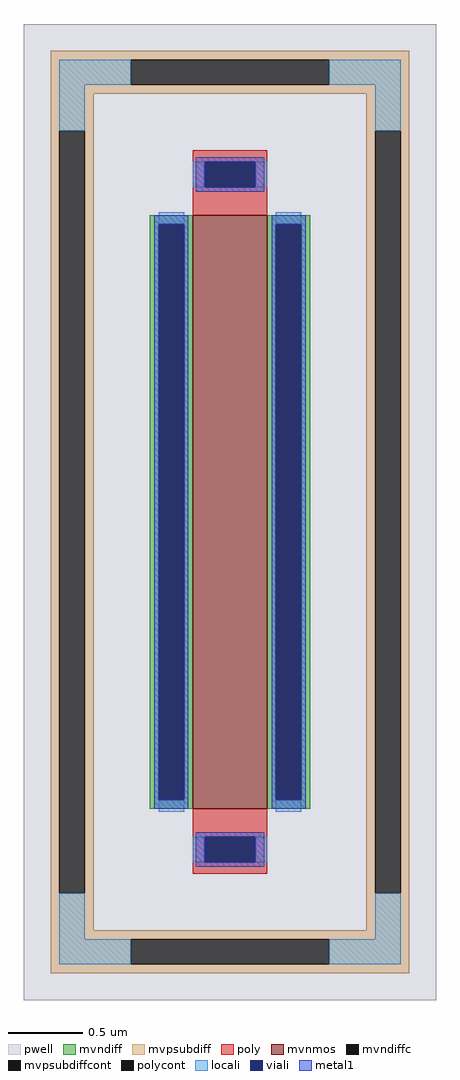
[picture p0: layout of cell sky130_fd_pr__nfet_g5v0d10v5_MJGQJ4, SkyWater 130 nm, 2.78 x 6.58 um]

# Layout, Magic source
magic
tech sky130A
<< pwell >>
rect -139 -329 139 329
<< mvnmos >>
rect -25 -200 25 200
<< mvndiff >>
rect -54 194 -25 200
rect -54 -194 -48 194
rect -31 -194 -25 194
rect -54 -200 -25 -194
rect 25 194 54 200
rect 25 -194 31 194
rect 48 -194 54 194
rect 25 -200 54 -194
<< mvndiffc >>
rect -48 -194 -31 194
rect 31 -194 48 194
<< mvpsubdiff >>
rect -121 305 121 311
rect -121 288 -67 305
rect 67 288 121 305
rect -121 282 121 288
rect -121 257 -92 282
rect -121 -257 -115 257
rect -98 -257 -92 257
rect 92 257 121 282
rect -121 -282 -92 -257
rect 92 -257 98 257
rect 115 -257 121 257
rect 92 -282 121 -257
rect -121 -288 121 -282
rect -121 -305 -67 -288
rect 67 -305 121 -288
rect -121 -311 121 -305
<< mvpsubdiffcont >>
rect -67 288 67 305
rect -115 -257 -98 257
rect 98 -257 115 257
rect -67 -305 67 -288
<< poly >>
rect -25 236 25 244
rect -25 219 -17 236
rect 17 219 25 236
rect -25 200 25 219
rect -25 -219 25 -200
rect -25 -236 -17 -219
rect 17 -236 25 -219
rect -25 -244 25 -236
<< polycont >>
rect -17 219 17 236
rect -17 -236 17 -219
<< locali >>
rect -115 288 -67 305
rect 67 288 115 305
rect -115 257 -98 288
rect 98 257 115 288
rect -25 219 -17 236
rect 17 219 25 236
rect -48 194 -31 202
rect -48 -202 -31 -194
rect 31 194 48 202
rect 31 -202 48 -194
rect -25 -236 -17 -219
rect 17 -236 25 -219
rect -115 -288 -98 -257
rect 98 -288 115 -257
rect -115 -305 -67 -288
rect 67 -305 115 -288
<< viali >>
rect -17 219 17 236
rect -48 -194 -31 194
rect 31 -194 48 194
rect -17 -236 17 -219
<< metal1 >>
rect -23 236 23 239
rect -23 219 -17 236
rect 17 219 23 236
rect -23 216 23 219
rect -51 194 -28 200
rect -51 -194 -48 194
rect -31 -194 -28 194
rect -51 -200 -28 -194
rect 28 194 51 200
rect 28 -194 31 194
rect 48 -194 51 194
rect 28 -200 51 -194
rect -23 -219 23 -216
rect -23 -236 -17 -219
rect 17 -236 23 -219
rect -23 -239 23 -236
<< properties >>
string FIXED_BBOX -106 -296 106 296
string gencell sky130_fd_pr__nfet_g5v0d10v5
string library sky130
string parameters w 4.0 l 0.5 m 1 nf 1 diffcov 100 polycov 100 guard 1 glc 1 grc 1 gtc 1 gbc 1 tbcov 100 rlcov 100 topc 1 botc 1 poverlap 0 doverlap 1 lmin 0.50 wmin 0.42 compatible {sky130_fd_pr__nfet_01v8 sky130_fd_pr__nfet_01v8_lvt  sky130_fd_bs_flash__special_sonosfet_star  sky130_fd_pr__nfet_g5v0d10v5 sky130_fd_pr__nfet_05v0_nvt  sky130_fd_pr__nfet_03v3_nvt} full_metal 1 viasrc 100 viadrn 100 viagate 100 viagb 0 viagr 0 viagl 0 viagt 0
<< end >>
